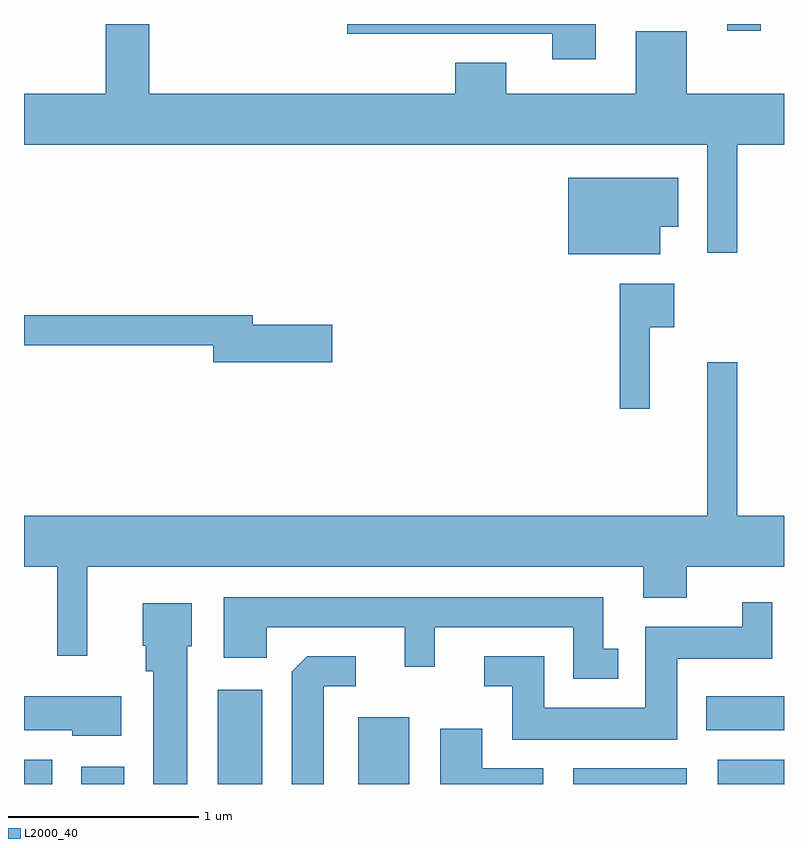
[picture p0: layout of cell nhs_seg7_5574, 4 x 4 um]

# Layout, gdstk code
import gdstk
lib = gdstk.Library(unit=1e-6, precision=1e-09)
def R(c, l, rs):  # rectangles x0, y0, x1, y1
    for r in rs: c.add(gdstk.rectangle(r[:2], r[2:], *l))
def P(c, l, *ps):  # polygons
    for p in ps: c.add(gdstk.Polygon(p, *l))
L2000_40 = (2000, 40)

nhs_seg7_5574 = lib.new_cell('nhs_seg7_5574')
R(nhs_seg7_5574, L2000_40, [(355.611,1744.252,355.759,1744.379), (355.911,1744.252,356.139,1744.344), (356.631,1744.252,356.864,1744.749), (357.371,1744.252,357.639,1744.604), (358.501,1744.252,359.099,1744.334), (359.261,1744.252,359.611,1744.379), (359.201,1744.536,359.611,1744.714), (359.311,1748.216,359.489,1748.252)])
P(nhs_seg7_5574, L2000_40, [(359.364,1747.616),(359.611,1747.616),(359.611,1747.884),(359.099,1747.884),(359.099,1748.214),(358.831,1748.214),(358.831,1747.884),(358.149,1747.884),(358.149,1748.049),(357.881,1748.049),(357.881,1747.884),(356.269,1747.884),(356.269,1748.252),(356.041,1748.252),(356.041,1747.884),(355.611,1747.884),(355.611,1747.616),(359.206,1747.616),(359.206,1747.048),(359.364,1747.048)],
  [(358.619,1748.252),(357.311,1748.252),(357.311,1748.201),(358.391,1748.201),(358.391,1748.066),(358.619,1748.066)],
  [(358.959,1747.186),(359.054,1747.186),(359.054,1747.444),(358.476,1747.444),(358.476,1747.041),(358.959,1747.041)],
  [(358.904,1746.656),(359.034,1746.656),(359.034,1746.884),(358.746,1746.884),(358.746,1746.228),(358.904,1746.228)],
  [(357.234,1746.669),(356.814,1746.669),(356.814,1746.719),(355.611,1746.719),(355.611,1746.561),(356.606,1746.561),(356.606,1746.471),(357.234,1746.471)],
  [(359.206,1746.473),(359.206,1745.664),(355.611,1745.664),(355.611,1745.396),(355.786,1745.396),(355.786,1744.928),(355.944,1744.928),(355.944,1745.396),(358.871,1745.396),(358.871,1745.231),(359.099,1745.231),(359.099,1745.396),(359.611,1745.396),(359.611,1745.664),(359.364,1745.664),(359.364,1746.473)],
  [(358.738,1744.964),(358.659,1744.964),(358.659,1745.234),(356.661,1745.234),(356.661,1744.916),(356.889,1744.916),(356.889,1745.076),(357.616,1745.076),(357.616,1744.868),(357.774,1744.868),(357.774,1745.076),(358.501,1745.076),(358.501,1744.806),(358.738,1744.806)],
  [(359.049,1744.911),(359.549,1744.911),(359.549,1745.208),(359.391,1745.208),(359.391,1745.079),(358.881,1745.079),(358.881,1744.654),(358.349,1744.654),(358.349,1744.924),(358.033,1744.924),(358.033,1744.766),(358.181,1744.766),(358.181,1744.486),(359.049,1744.486)],
  [(356.469,1744.976),(356.494,1744.976),(356.494,1745.204),(356.236,1745.204),(356.236,1744.98),(356.251,1744.98),(356.251,1744.846),(356.291,1744.846),(356.291,1744.252),(356.469,1744.252)],
  [(357.189,1744.766),(357.358,1744.766),(357.358,1744.924),(357.102,1744.924),(357.021,1744.844),(357.021,1744.252),(357.189,1744.252)],
  [(356.124,1744.714),(355.611,1744.714),(355.611,1744.536),(355.866,1744.536),(355.866,1744.506),(356.124,1744.506)],
  [(358.344,1744.334),(358.024,1744.334),(358.024,1744.544),(357.801,1744.544),(357.801,1744.252),(358.344,1744.252)])

lib.write_gds('nhs_seg7_5574.gds')
